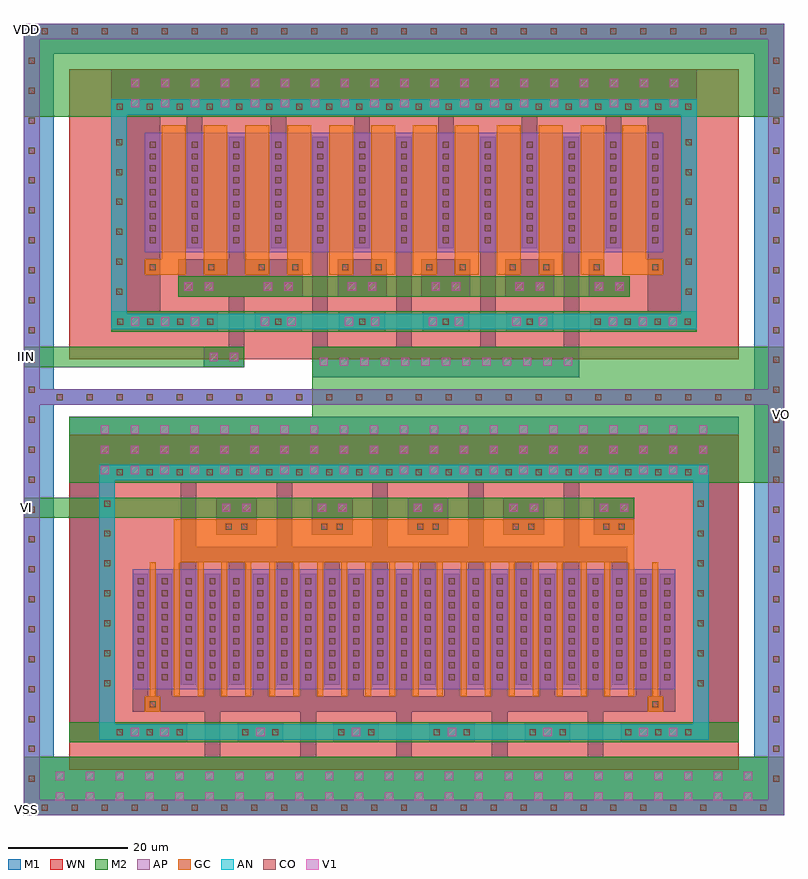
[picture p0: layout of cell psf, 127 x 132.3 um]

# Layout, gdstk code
import gdstk
lib = gdstk.Library(unit=1e-6, precision=1e-07)
def R(c, l, rs):  # rectangles x0, y0, x1, y1
    for r in rs: c.add(gdstk.rectangle(r[:2], r[2:], *l))
def A(c, l, x, y, w, h, nx, ny, dx, dy):  # array of equal rectangles
    R(c, l, [(x+i*dx, y+j*dy, x+i*dx+w, y+j*dy+h) for i in range(nx) for j in range(ny)])
def P(c, l, *ps):  # polygons
    for p in ps: c.add(gdstk.Polygon(p, *l))
AP = (3, 1)
AN = (3, 2)
GC = (8, 1)
CO = (11, 0)
M1 = (13, 0)
V1 = (19, 0)
M2 = (20, 0)
WN = (140, 0)

fet_p_1 = lib.new_cell('fet_p$1')
R(fet_p_1, AP, [(-43.3,-10,43.3,10)])
A(fet_p_1, CO, -42.5, -8.5, 1, 1, 13, 9, 7, 2)
A(fet_p_1, M1, -43.3, -9.3, 2.6, 18.6, 13, 1, 7, 0)
fet_p_1.add(gdstk.FlexPath([(3.5,-11.2),(3.5,11.2)], 4, ends="flush", simple_path=True, layer=8, datatype=1))  # GC
fet_p_1.add(gdstk.FlexPath([(-3.5,-11.2),(-3.5,11.2)], 4, ends="flush", simple_path=True, layer=8, datatype=1))  # GC
fet_p_1.add(gdstk.FlexPath([(10.5,-11.2),(10.5,11.2)], 4, ends="flush", simple_path=True, layer=8, datatype=1))  # GC
fet_p_1.add(gdstk.FlexPath([(-10.5,-11.2),(-10.5,11.2)], 4, ends="flush", simple_path=True, layer=8, datatype=1))  # GC
fet_p_1.add(gdstk.FlexPath([(17.5,-11.2),(17.5,11.2)], 4, ends="flush", simple_path=True, layer=8, datatype=1))  # GC
fet_p_1.add(gdstk.FlexPath([(-17.5,-11.2),(-17.5,11.2)], 4, ends="flush", simple_path=True, layer=8, datatype=1))  # GC
fet_p_1.add(gdstk.FlexPath([(24.5,-11.2),(24.5,11.2)], 4, ends="flush", simple_path=True, layer=8, datatype=1))  # GC
fet_p_1.add(gdstk.FlexPath([(-24.5,-11.2),(-24.5,11.2)], 4, ends="flush", simple_path=True, layer=8, datatype=1))  # GC
fet_p_1.add(gdstk.FlexPath([(31.5,-11.2),(31.5,11.2)], 4, ends="flush", simple_path=True, layer=8, datatype=1))  # GC
fet_p_1.add(gdstk.FlexPath([(-31.5,-11.2),(-31.5,11.2)], 4, ends="flush", simple_path=True, layer=8, datatype=1))  # GC
fet_p_1.add(gdstk.FlexPath([(38.5,-11.2),(38.5,11.2)], 4, ends="flush", simple_path=True, layer=8, datatype=1))  # GC
fet_p_1.add(gdstk.FlexPath([(-38.5,-11.2),(-38.5,11.2)], 4, ends="flush", simple_path=True, layer=8, datatype=1))  # GC

cont_g = lib.new_cell('cont_g')
R(cont_g, GC, [(-1.3,-1.3,1.3,1.3)])
R(cont_g, CO, [(-0.5,-0.5,0.5,0.5)])
R(cont_g, M1, [(-1.3,-1.3,1.3,1.3)])

cont_n = lib.new_cell('cont_n')
R(cont_n, AN, [(-1.3,-1.3,1.3,1.3)])
R(cont_n, CO, [(-0.5,-0.5,0.5,0.5)])
R(cont_n, M1, [(-1.3,-1.3,1.3,1.3)])

via_1 = lib.new_cell('via_1')
R(via_1, M1, [(-1.7,-1.7,1.7,1.7)])
R(via_1, V1, [(-0.7,-0.7,0.7,0.7)])
R(via_1, M2, [(-1.7,-1.7,1.7,1.7)])

fet_p = lib.new_cell('fet_p')
R(fet_p, AP, [(-45.3,-10,45.3,10)])
A(fet_p, CO, -44.5, -8.5, 1, 1, 23, 9, 4, 2)
A(fet_p, M1, -45.3, -9.3, 2.6, 18.6, 23, 1, 4, 0)
fet_p.add(gdstk.FlexPath([(2,-11.2),(2,11.2)], 1, ends="flush", simple_path=True, layer=8, datatype=1))  # GC
fet_p.add(gdstk.FlexPath([(-2,-11.2),(-2,11.2)], 1, ends="flush", simple_path=True, layer=8, datatype=1))  # GC
fet_p.add(gdstk.FlexPath([(6,-11.2),(6,11.2)], 1, ends="flush", simple_path=True, layer=8, datatype=1))  # GC
fet_p.add(gdstk.FlexPath([(-6,-11.2),(-6,11.2)], 1, ends="flush", simple_path=True, layer=8, datatype=1))  # GC
fet_p.add(gdstk.FlexPath([(10,-11.2),(10,11.2)], 1, ends="flush", simple_path=True, layer=8, datatype=1))  # GC
fet_p.add(gdstk.FlexPath([(-10,-11.2),(-10,11.2)], 1, ends="flush", simple_path=True, layer=8, datatype=1))  # GC
fet_p.add(gdstk.FlexPath([(14,-11.2),(14,11.2)], 1, ends="flush", simple_path=True, layer=8, datatype=1))  # GC
fet_p.add(gdstk.FlexPath([(-14,-11.2),(-14,11.2)], 1, ends="flush", simple_path=True, layer=8, datatype=1))  # GC
fet_p.add(gdstk.FlexPath([(18,-11.2),(18,11.2)], 1, ends="flush", simple_path=True, layer=8, datatype=1))  # GC
fet_p.add(gdstk.FlexPath([(-18,-11.2),(-18,11.2)], 1, ends="flush", simple_path=True, layer=8, datatype=1))  # GC
fet_p.add(gdstk.FlexPath([(22,-11.2),(22,11.2)], 1, ends="flush", simple_path=True, layer=8, datatype=1))  # GC
fet_p.add(gdstk.FlexPath([(-22,-11.2),(-22,11.2)], 1, ends="flush", simple_path=True, layer=8, datatype=1))  # GC
fet_p.add(gdstk.FlexPath([(26,-11.2),(26,11.2)], 1, ends="flush", simple_path=True, layer=8, datatype=1))  # GC
fet_p.add(gdstk.FlexPath([(-26,-11.2),(-26,11.2)], 1, ends="flush", simple_path=True, layer=8, datatype=1))  # GC
fet_p.add(gdstk.FlexPath([(30,-11.2),(30,11.2)], 1, ends="flush", simple_path=True, layer=8, datatype=1))  # GC
fet_p.add(gdstk.FlexPath([(-30,-11.2),(-30,11.2)], 1, ends="flush", simple_path=True, layer=8, datatype=1))  # GC
fet_p.add(gdstk.FlexPath([(34,-11.2),(34,11.2)], 1, ends="flush", simple_path=True, layer=8, datatype=1))  # GC
fet_p.add(gdstk.FlexPath([(-34,-11.2),(-34,11.2)], 1, ends="flush", simple_path=True, layer=8, datatype=1))  # GC
fet_p.add(gdstk.FlexPath([(38,-11.2),(38,11.2)], 1, ends="flush", simple_path=True, layer=8, datatype=1))  # GC
fet_p.add(gdstk.FlexPath([(-38,-11.2),(-38,11.2)], 1, ends="flush", simple_path=True, layer=8, datatype=1))  # GC
fet_p.add(gdstk.FlexPath([(42,-11.2),(42,11.2)], 1, ends="flush", simple_path=True, layer=8, datatype=1))  # GC
fet_p.add(gdstk.FlexPath([(-42,-11.2),(-42,11.2)], 1, ends="flush", simple_path=True, layer=8, datatype=1))  # GC

cont_p = lib.new_cell('cont_p')
R(cont_p, AP, [(-1.3,-1.3,1.3,1.3)])
R(cont_p, CO, [(-0.5,-0.5,0.5,0.5)])
R(cont_p, M1, [(-1.3,-1.3,1.3,1.3)])

psf = lib.new_cell('psf')
P(psf, AP, [(0,0),(0,68.6),(2.6,68.6),(2.6,2.6),(124.4,2.6),(124.4,68.6),(0,68.6),(0,129.7),(2.6,129.7),(2.6,71.2),(124.4,71.2),(124.4,129.7),(0,129.7),(0,132.3),(127,132.3),(127,0)])
P(psf, AN, [(14.6,81.2),(14.6,117.1),(17.2,117.1),(17.2,83.8),(109.8,83.8),(109.8,117.1),(14.6,117.1),(14.6,119.7),(112.4,119.7),(112.4,81.2)],
  [(12.6,12.6),(12.6,56),(15.2,56),(15.2,15.2),(111.8,15.2),(111.8,56),(12.6,56),(12.6,58.6),(114.4,58.6),(114.4,12.6)])
A(psf, GC, 30, 90.3, 4, 2.6, 10, 1, 7, 0)
R(psf, GC, [(25,42.3,102,49.5), (20.2,90.3,27,92.9), (100,90.3,106.8,92.9)])
A(psf, M1, 35.7, 12.2, 7.6, 3.4, 4, 1, 16, 0)
A(psf, M1, 32.1, 46.9, 6.8, 6.2, 4, 1, 16, 0)
A(psf, M1, 48.2, 73.2, 2.6, 21.6, 4, 1, 14, 0)
A(psf, M1, 38.6, 80.8, 7.8, 3.4, 4, 1, 14, 0)
A(psf, M1, 52.4, 86.7, 8.2, 6.2, 3, 1, 14, 0)
A(psf, M1, 27.2, 113.4, 2.6, 3.3, 6, 1, 14, 0)
R(psf, M1, [(95.2,46.9,102,53.1), (48.2,73.2,92.8,78.3), (34.2,74.9,36.8,94.8), (25.8,86.7,46.6,92.9), (94.4,86.7,97,92.9)])
P(psf, M1, [(0,0),(0,68.6),(5,68.6),(5,9.8),(30.2,9.8),(30.2,17.3),(32.8,17.3),(32.8,9.8),(46.2,9.8),(46.2,17.3),(48.8,17.3),(48.8,9.8),(62.2,9.8),(62.2,17.3),(64.8,17.3),(64.8,9.8),(78.2,9.8),(78.2,17.3),(80.8,17.3),(80.8,9.8),(94.2,9.8),(94.2,17.3),(18.2,17.3),(18.2,21.8),(20.8,21.8),(20.8,19.9),(22.2,19.9),(22.2,21.8),(24.8,21.8),(24.8,19.9),(30.2,19.9),(30.2,21.8),(32.8,21.8),(32.8,19.9),(38.2,19.9),(38.2,21.8),(40.8,21.8),(40.8,19.9),(46.2,19.9),(46.2,21.8),(48.8,21.8),(48.8,19.9),(54.2,19.9),(54.2,21.8),(56.8,21.8),(56.8,19.9),(62.2,19.9),(62.2,21.8),(64.8,21.8),(64.8,19.9),(70.2,19.9),(70.2,21.8),(72.8,21.8),(72.8,19.9),(78.2,19.9),(78.2,21.8),(80.8,21.8),(80.8,19.9),(86.2,19.9),(86.2,21.8),(88.8,21.8),(88.8,19.9),(94.2,19.9),(94.2,21.8),(96.8,21.8),(96.8,19.9),(102.2,19.9),(102.2,21.8),(104.8,21.8),(104.8,19.9),(106.2,19.9),(106.2,21.8),(108.8,21.8),(108.8,17.3),(96.8,17.3),(96.8,9.8),(122,9.8),(122,68.6),(0,68.6),(0,127.3),(5,127.3),(5,71.2),(122,71.2),(122,127.3),(0,127.3),(0,132.3),(127,132.3),(127,0)],
  [(7.6,12.2),(7.6,55.6),(28.8,55.6),(28.8,44.9),(42.2,44.9),(42.2,55.6),(44.8,55.6),(44.8,44.9),(58.2,44.9),(58.2,55.6),(60.8,55.6),(60.8,44.9),(74.2,44.9),(74.2,55.6),(76.8,55.6),(76.8,44.9),(90.2,44.9),(90.2,55.6),(7.6,55.6),(7.6,66.6),(119.4,66.6),(119.4,12.2),(99.7,12.2),(99.7,15.6),(111.8,15.6),(111.8,55.6),(92.8,55.6),(92.8,44.9),(100.8,44.9),(100.8,40.4),(98.2,40.4),(98.2,42.3),(92.8,42.3),(92.8,40.4),(90.2,40.4),(90.2,42.3),(84.8,42.3),(84.8,40.4),(82.2,40.4),(82.2,42.3),(76.8,42.3),(76.8,40.4),(74.2,40.4),(74.2,42.3),(68.8,42.3),(68.8,40.4),(66.2,40.4),(66.2,42.3),(60.8,42.3),(60.8,40.4),(58.2,40.4),(58.2,42.3),(52.8,42.3),(52.8,40.4),(50.2,40.4),(50.2,42.3),(44.8,42.3),(44.8,40.4),(42.2,40.4),(42.2,42.3),(36.8,42.3),(36.8,40.4),(34.2,40.4),(34.2,42.3),(28.8,42.3),(28.8,40.4),(26.2,40.4),(26.2,55.6),(15.2,55.6),(15.2,15.6),(27.3,15.6),(27.3,12.2)],
  [(14.6,80.8),(14.6,124.7),(112.4,124.7),(112.4,80.8),(94.6,80.8),(94.6,84.2),(104.2,84.2),(104.2,116.7),(22.8,116.7),(22.8,84.2),(32.4,84.2),(32.4,80.8)])
R(psf, M2, [(0,0,127,9.8), (7.6,12.2,119.4,15.6), (0,49.7,102,53.1), (0,74.9,36.8,78.3), (14.6,80.8,112.4,84.2), (25.8,86.7,101.2,90.1), (0,116.7,127,132.3)])
P(psf, M2, [(7.6,55.6),(7.6,66.6),(48.2,66.6),(48.2,78.3),(127,78.3),(127,55.6)])
R(psf, WN, [(7.6,7.6,119.4,63.6), (7.6,76.2,119.4,124.7)])
psf.add(gdstk.Reference(fet_p_1, (63.5,104.1)))
psf.add(gdstk.Reference(cont_g, (21.5,91.6)))
psf.add(gdstk.Reference(cont_g, (31.3,91.6)))
psf.add(gdstk.Reference(cont_g, (39.7,91.6)))
psf.add(gdstk.Reference(cont_g, (45.3,91.6)))
psf.add(gdstk.Reference(cont_g, (53.7,91.6)))
psf.add(gdstk.Reference(cont_g, (59.3,91.6)))
psf.add(gdstk.Reference(cont_g, (67.7,91.6)))
psf.add(gdstk.Reference(cont_g, (73.3,91.6)))
psf.add(gdstk.Reference(cont_g, (81.7,91.6)))
psf.add(gdstk.Reference(cont_g, (87.3,91.6)))
psf.add(gdstk.Reference(cont_g, (95.7,91.6)))
psf.add(gdstk.Reference(cont_g, (105.5,91.6)))
r = gdstk.Reference(cont_n, (16,118.4)); r.repetition = gdstk.Repetition(20, 1, v1=(5,0), v2=(0,0)); psf.add(r)
r = gdstk.Reference(cont_n, (16.1,82.5)); r.repetition = gdstk.Repetition(4, 1, v1=(5,0), v2=(0,0)); psf.add(r)
r = gdstk.Reference(cont_n, (15.9,87.5)); r.repetition = gdstk.Repetition(1, 6, v1=(0,0), v2=(0,5)); psf.add(r)
r = gdstk.Reference(cont_n, (111.1,87.5)); r.repetition = gdstk.Repetition(1, 6, v1=(0,0), v2=(0,5)); psf.add(r)
r = gdstk.Reference(via_1, (27.5,88.4)); r.repetition = gdstk.Repetition(2, 1, v1=(3.4,0), v2=(0,0)); psf.add(r)
r = gdstk.Reference(via_1, (40.8,88.4)); r.repetition = gdstk.Repetition(2, 1, v1=(3.4,0), v2=(0,0)); psf.add(r)
r = gdstk.Reference(via_1, (96.1,88.4)); r.repetition = gdstk.Repetition(2, 1, v1=(3.4,0), v2=(0,0)); psf.add(r)
r = gdstk.Reference(via_1, (54.8,88.4)); r.repetition = gdstk.Repetition(2, 1, v1=(3.4,0), v2=(0,0)); psf.add(r)
r = gdstk.Reference(via_1, (68.8,88.4)); r.repetition = gdstk.Repetition(2, 1, v1=(3.4,0), v2=(0,0)); psf.add(r)
r = gdstk.Reference(via_1, (82.8,88.4)); r.repetition = gdstk.Repetition(2, 1, v1=(3.4,0), v2=(0,0)); psf.add(r)
psf.add(gdstk.Reference(cont_n, (42.5,82.5)))
r = gdstk.Reference(via_1, (40.3,82.5)); r.repetition = gdstk.Repetition(2, 1, v1=(4.4,0), v2=(0,0)); psf.add(r)
psf.add(gdstk.Reference(cont_n, (56.5,82.5)))
r = gdstk.Reference(via_1, (54.3,82.5)); r.repetition = gdstk.Repetition(2, 1, v1=(4.4,0), v2=(0,0)); psf.add(r)
psf.add(gdstk.Reference(cont_n, (70.5,82.5)))
r = gdstk.Reference(via_1, (68.3,82.5)); r.repetition = gdstk.Repetition(2, 1, v1=(4.4,0), v2=(0,0)); psf.add(r)
psf.add(gdstk.Reference(cont_n, (84.5,82.5)))
r = gdstk.Reference(via_1, (82.3,82.5)); r.repetition = gdstk.Repetition(2, 1, v1=(4.4,0), v2=(0,0)); psf.add(r)
r = gdstk.Reference(via_1, (18.6,82.5)); r.repetition = gdstk.Repetition(3, 1, v1=(5,0), v2=(0,0)); psf.add(r)
r = gdstk.Reference(cont_n, (95.9,82.5)); r.repetition = gdstk.Repetition(4, 1, v1=(5,0), v2=(0,0)); psf.add(r)
r = gdstk.Reference(via_1, (98.4,82.5)); r.repetition = gdstk.Repetition(3, 1, v1=(5,0), v2=(0,0)); psf.add(r)
psf.add(gdstk.Reference(fet_p, (63.5,31.1)))
psf.add(gdstk.Reference(cont_g, (21.5,18.6)))
r = gdstk.Reference(cont_g, (34.2,48.2)); r.repetition = gdstk.Repetition(2, 1, v1=(2.6,0), v2=(0,0)); psf.add(r)
psf.add(gdstk.Reference(cont_g, (105.5,18.6)))
r = gdstk.Reference(via_1, (33.8,51.4)); r.repetition = gdstk.Repetition(2, 1, v1=(3.4,0), v2=(0,0)); psf.add(r)
r = gdstk.Reference(via_1, (18.6,119)); r.repetition = gdstk.Repetition(19, 2, v1=(5,0), v2=(0,3.4)); psf.add(r)
r = gdstk.Reference(cont_n, (16,13.9)); r.repetition = gdstk.Repetition(3, 1, v1=(5,0), v2=(0,0)); psf.add(r)
r = gdstk.Reference(cont_n, (16,57.3)); r.repetition = gdstk.Repetition(20, 1, v1=(5,0), v2=(0,0)); psf.add(r)
r = gdstk.Reference(cont_n, (37,13.9)); r.repetition = gdstk.Repetition(2, 1, v1=(5,0), v2=(0,0)); psf.add(r)
r = gdstk.Reference(via_1, (18.5,13.9)); r.repetition = gdstk.Repetition(2, 1, v1=(5,0), v2=(0,0)); psf.add(r)
psf.add(gdstk.Reference(via_1, (39.5,13.9)))
r = gdstk.Reference(cont_g, (50.2,48.2)); r.repetition = gdstk.Repetition(2, 1, v1=(2.6,0), v2=(0,0)); psf.add(r)
r = gdstk.Reference(via_1, (49.8,51.4)); r.repetition = gdstk.Repetition(2, 1, v1=(3.4,0), v2=(0,0)); psf.add(r)
r = gdstk.Reference(cont_g, (66.2,48.2)); r.repetition = gdstk.Repetition(2, 1, v1=(2.6,0), v2=(0,0)); psf.add(r)
r = gdstk.Reference(via_1, (65.8,51.4)); r.repetition = gdstk.Repetition(2, 1, v1=(3.4,0), v2=(0,0)); psf.add(r)
r = gdstk.Reference(cont_g, (82.2,48.2)); r.repetition = gdstk.Repetition(2, 1, v1=(2.6,0), v2=(0,0)); psf.add(r)
r = gdstk.Reference(via_1, (81.8,51.4)); r.repetition = gdstk.Repetition(2, 1, v1=(3.4,0), v2=(0,0)); psf.add(r)
r = gdstk.Reference(cont_n, (53,13.9)); r.repetition = gdstk.Repetition(2, 1, v1=(5,0), v2=(0,0)); psf.add(r)
psf.add(gdstk.Reference(via_1, (55.5,13.9)))
r = gdstk.Reference(cont_n, (69,13.9)); r.repetition = gdstk.Repetition(2, 1, v1=(5,0), v2=(0,0)); psf.add(r)
psf.add(gdstk.Reference(via_1, (71.5,13.9)))
r = gdstk.Reference(cont_n, (85,13.9)); r.repetition = gdstk.Repetition(2, 1, v1=(5,0), v2=(0,0)); psf.add(r)
psf.add(gdstk.Reference(via_1, (87.5,13.9)))
r = gdstk.Reference(cont_n, (101,13.9)); r.repetition = gdstk.Repetition(3, 1, v1=(5,0), v2=(0,0)); psf.add(r)
r = gdstk.Reference(via_1, (103.5,13.9)); r.repetition = gdstk.Repetition(2, 1, v1=(5,0), v2=(0,0)); psf.add(r)
r = gdstk.Reference(cont_g, (97.3,48.2)); r.repetition = gdstk.Repetition(2, 1, v1=(2.6,0), v2=(0,0)); psf.add(r)
r = gdstk.Reference(via_1, (96.9,51.4)); r.repetition = gdstk.Repetition(2, 1, v1=(3.4,0), v2=(0,0)); psf.add(r)
r = gdstk.Reference(cont_n, (13.9,22.1)); r.repetition = gdstk.Repetition(1, 7, v1=(0,0), v2=(0,5)); psf.add(r)
r = gdstk.Reference(cont_n, (113.1,22.1)); r.repetition = gdstk.Repetition(1, 7, v1=(0,0), v2=(0,5)); psf.add(r)
r = gdstk.Reference(via_1, (31.7,76.6)); r.repetition = gdstk.Repetition(2, 1, v1=(3.4,0), v2=(0,0)); psf.add(r)
r = gdstk.Reference(via_1, (13.5,57.7)); r.repetition = gdstk.Repetition(21, 3, v1=(5,0), v2=(0,3.4)); psf.add(r)
r = gdstk.Reference(via_1, (50.1,75.8)); r.repetition = gdstk.Repetition(13, 1, v1=(3.4,0), v2=(0,0)); psf.add(r)
r = gdstk.Reference(cont_p, (3.5,1.3)); r.repetition = gdstk.Repetition(25, 1, v1=(5,0), v2=(0,0)); psf.add(r)
r = gdstk.Reference(via_1, (6,3.2)); r.repetition = gdstk.Repetition(24, 2, v1=(5,0), v2=(0,3.4)); psf.add(r)
r = gdstk.Reference(cont_p, (6,69.9)); r.repetition = gdstk.Repetition(24, 1, v1=(5,0), v2=(0,0)); psf.add(r)
r = gdstk.Reference(cont_p, (3.5,131)); r.repetition = gdstk.Repetition(25, 1, v1=(5,0), v2=(0,0)); psf.add(r)
r = gdstk.Reference(cont_p, (1.3,6.1)); r.repetition = gdstk.Repetition(1, 25, v1=(0,0), v2=(0,5)); psf.add(r)
r = gdstk.Reference(cont_p, (125.7,6.1)); r.repetition = gdstk.Repetition(1, 25, v1=(0,0), v2=(0,5)); psf.add(r)
psf.add(gdstk.Label('VSS', (0.5,1), layer=49, texttype=0))
psf.add(gdstk.Label('VDD', (0.5,131.3), layer=49, texttype=0))
psf.add(gdstk.Label('VI', (0.5,51.4), layer=49, texttype=0))
psf.add(gdstk.Label('IIN', (0.5,76.6), layer=49, texttype=0))
psf.add(gdstk.Label('VO', (126.5,67), layer=49, texttype=0))

lib.write_gds('psf.gds')
